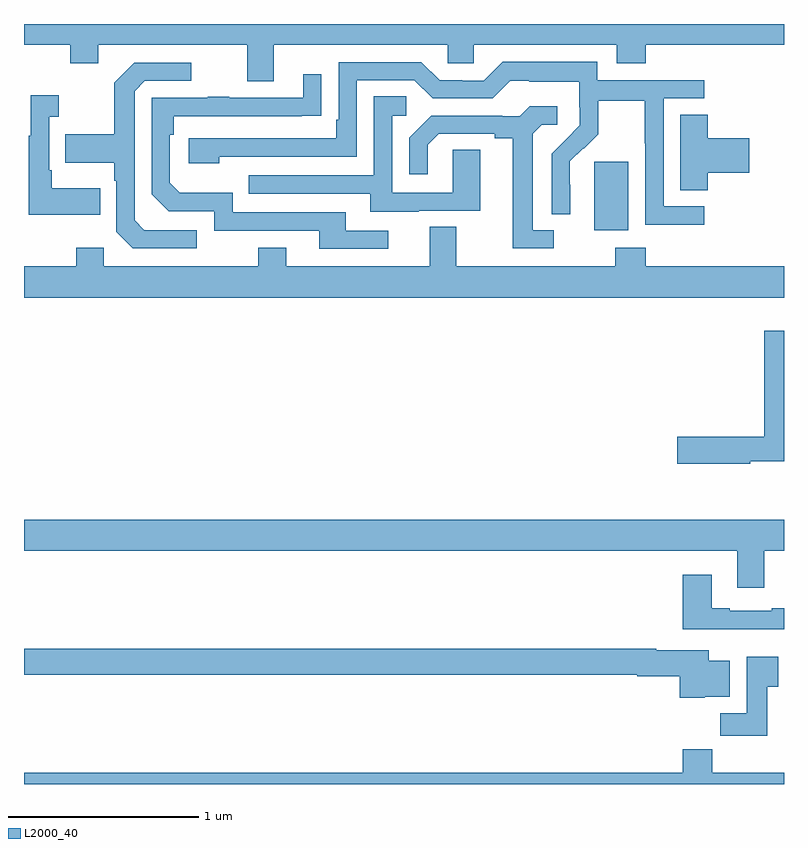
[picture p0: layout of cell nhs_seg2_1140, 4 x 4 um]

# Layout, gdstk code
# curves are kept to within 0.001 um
import gdstk
lib = gdstk.Library(unit=1e-6, precision=1e-09)
def R(c, l, rs):  # rectangles x0, y0, x1, y1
    for r in rs: c.add(gdstk.rectangle(r[:2], r[2:], *l))
def P(c, l, *ps):  # polygons
    for p in ps: c.add(gdstk.Polygon(p, *l))
L2000_40 = (2000, 40)

nhs_seg2_1140 = lib.new_cell('nhs_seg2_1140')
R(nhs_seg2_1140, L2000_40, [(174.002,590.714,174.181,591.075)])
P(nhs_seg2_1140, L2000_40, [(172.315,591.692),(173.229,591.692),(173.229,591.594),(173.367,591.594),(173.367,591.692),(174.119,591.692),(174.119,591.593),(174.272,591.593),(174.272,591.692),(175,591.692),(175,591.8),(171,591.8),(171,591.692),(171.244,591.692),(171.244,591.593),(171.391,591.593),(171.391,591.692),(172.175,591.692),(172.175,591.498),(172.315,591.498)],
  [(174.58,590.841),(174.366,590.841),(174.366,591.408),(174.58,591.408),(174.58,591.504),(174.018,591.504),(174.018,591.601),(173.521,591.601),(173.421,591.501),(173.306,591.501),(173.306,591.504),(173.187,591.504),(173.091,591.6),(172.656,591.6),(172.656,591.295),(172.643,591.295),(172.643,591.198),(171.867,591.198),(171.867,591.068),(172.028,591.068),(172.028,591.102),(172.752,591.102),(172.752,591.504),(173.055,591.504),(173.151,591.408),(173.466,591.408),(173.559,591.501),(173.659,591.501),(173.659,591.497),(173.922,591.497),(173.922,591.363),(173.924,591.363),(173.924,591.266),(173.778,591.118),(173.778,590.8),(173.874,590.8),(173.873,591.077),(173.943,591.147),(173.946,591.144),(174.023,591.221),(174.023,591.396),(174.268,591.396),(174.268,591.172),(174.27,591.172),(174.27,590.743),(174.58,590.743)],
  [(171.91,590.715),(171.633,590.715),(171.582,590.766),(171.582,591.447),(171.636,591.501),(171.88,591.501),(171.88,591.597),(171.579,591.597),(171.474,591.491),(171.474,591.219),(171.217,591.219),(171.217,591.071),(171.474,591.071),(171.474,590.975),(171.486,590.975),(171.486,590.706),(171.573,590.619),(171.91,590.619)],
  [(172.918,590.712),(172.693,590.712),(172.693,590.808),(172.098,590.808),(172.098,590.911),(171.821,590.911),(171.768,590.964),(171.768,591.218),(171.788,591.218),(171.788,591.315),(172.565,591.316),(172.565,591.535),(172.469,591.535),(172.469,591.411),(172.079,591.411),(172.079,591.416),(171.967,591.416),(171.967,591.411),(171.672,591.411),(171.672,590.904),(171.762,590.814),(172.002,590.814),(172.002,590.712),(172.553,590.712),(172.553,590.616),(172.918,590.616)],
  [(171.401,590.935),(171.145,590.935),(171.145,591.031),(171.132,591.031),(171.132,591.311),(171.184,591.311),(171.184,591.424),(171.035,591.424),(171.035,591.211),(171.024,591.211),(171.024,590.795),(171.401,590.795)],
  [(173.077,590.817),(173.401,590.817),(173.401,591.137),(173.256,591.137),(173.256,590.913),(172.938,590.913),(172.938,591.318),(173.011,591.318),(173.011,591.419),(172.842,591.419),(172.842,591.003),(172.183,591.003),(172.183,590.907),(172.823,590.907),(172.823,590.813),(173.077,590.813)],
  [(173.788,590.715),(173.677,590.715),(173.677,591.223),(173.724,591.27),(173.806,591.27),(173.806,591.367),(173.662,591.367),(173.61,591.315),(173.516,591.315),(173.516,591.318),(173.144,591.318),(173.028,591.202),(173.028,591.009),(173.125,591.009),(173.125,591.165),(173.182,591.222),(173.477,591.222),(173.477,591.2),(173.573,591.2),(173.573,590.619),(173.788,590.619)],
  [(174.599,591.017),(174.817,591.017),(174.817,591.2),(174.599,591.2),(174.599,591.323),(174.455,591.323),(174.455,590.926),(174.599,590.926)],
  [(175,590.524),(174.272,590.524),(174.272,590.623),(174.112,590.623),(174.112,590.524),(173.275,590.524),(173.275,590.732),(173.135,590.732),(173.135,590.524),(172.381,590.524),(172.381,590.623),(172.234,590.623),(172.234,590.524),(171.42,590.524),(171.42,590.623),(171.274,590.623),(171.274,590.524),(171,590.524),(171,590.36),(175,590.36)],
  [(174.822,589.498),(175,589.498),(175,590.185),(174.896,590.185),(174.896,589.628),(174.438,589.628),(174.438,589.486),(174.822,589.486)],
  [(174.895,589.028),(175,589.028),(175,589.192),(171,589.192),(171,589.028),(174.755,589.028),(174.755,588.834),(174.895,588.834)],
  [(175,588.724),(174.935,588.724),(174.935,588.711),(174.715,588.711),(174.715,588.724),(174.619,588.724),(174.619,588.901),(174.467,588.901),(174.467,588.614),(175,588.614)],
  [(174.582,588.26),(174.715,588.26),(174.715,588.448),(174.604,588.448),(174.604,588.505),(174.328,588.505),(174.328,588.512),(171,588.512),(171,588.376),(174.228,588.376),(174.228,588.368),(174.452,588.368),(174.452,588.254),(174.582,588.254)],
  [(174.913,588.313),(174.97,588.313),(174.97,588.469),(174.803,588.469),(174.803,588.172),(174.664,588.172),(174.664,588.054),(174.913,588.054)],
  [(175,587.86),(174.623,587.86),(174.623,587.984),(174.467,587.984),(174.467,587.86),(171,587.86),(171,587.8),(175,587.8)])

lib.write_gds('nhs_seg2_1140.gds')
